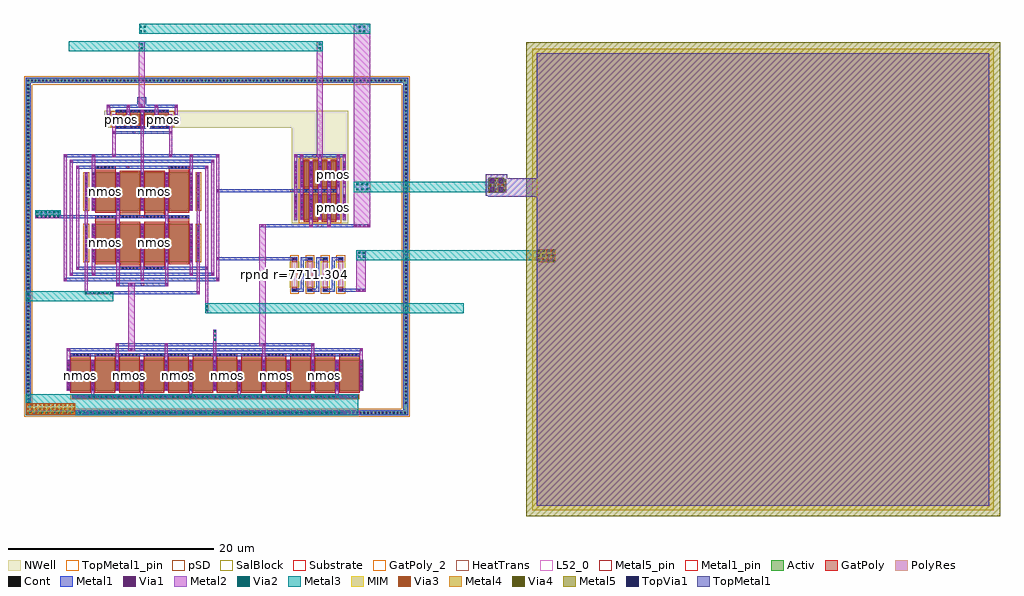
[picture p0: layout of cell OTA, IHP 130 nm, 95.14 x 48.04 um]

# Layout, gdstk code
from math import pi, radians
import gdstk
lib = gdstk.Library(unit=1e-6, precision=1e-09)
def R(c, l, rs):  # rectangles x0, y0, x1, y1
    for r in rs: c.add(gdstk.rectangle(r[:2], r[2:], *l))
def A(c, l, x, y, w, h, nx, ny, dx, dy):  # array of equal rectangles
    R(c, l, [(x+i*dx, y+j*dy, x+i*dx+w, y+j*dy+h) for i in range(nx) for j in range(ny)])
Activ = (1, 0)
GatPoly = (5, 0)
GatPoly_2 = (5, 2)
Cont = (6, 0)
Metal1 = (8, 0)
Metal1_pin = (8, 2)
Metal2 = (10, 0)
pSD = (14, 0)
Via1 = (19, 0)
SalBlock = (28, 0)
Via2 = (29, 0)
Metal3 = (30, 0)
NWell = (31, 0)
MIM = (36, 0)
Substrate = (40, 0)
Via3 = (49, 0)
Metal4 = (50, 0)
HeatTrans = (51, 0)
L52_0 = (52, 0)
Via4 = (66, 0)
Metal5 = (67, 0)
Metal5_pin = (67, 2)
TopVia1 = (125, 0)
TopMetal1 = (126, 0)
TopMetal1_pin = (126, 2)
PolyRes = (128, 0)

via_6 = lib.new_cell('Via$6')
R(via_6, Metal2, [(-0.05,-0.05,0.24,2.7)])
A(via_6, Via2, 0, 0, 0.19, 0.19, 1, 7, 0, 0.41)
R(via_6, Metal3, [(-0.05,-0.05,0.24,2.7)])

via_7 = lib.new_cell('Via$7')
R(via_7, Metal1, [(-0.05,-0.05,0.24,2.29)])
R(via_7, Metal2, [(-0.05,-0.05,0.24,2.29)])
A(via_7, Via1, 0, 0, 0.19, 0.19, 1, 6, 0, 0.41)

via_8 = lib.new_cell('Via$8')
R(via_8, Metal3, [(-0.05,-0.05,1.06,1.47)])
A(via_8, Via3, 0, 0, 0.19, 0.19, 3, 4, 0.41, 0.41)
R(via_8, Metal4, [(-0.05,-0.05,1.06,1.47)])

via_9 = lib.new_cell('Via$9')
R(via_9, Metal5, [(-0.1,-0.1,1.36,1.36)])
R(via_9, TopVia1, [(0,0,0.42,0.42), (0.84,0,1.26,0.42), (0,0.84,0.42,1.26), (0.84,0.84,1.26,1.26)])
R(via_9, TopMetal1, [(-0.42,-0.42,1.68,1.68)])

via_10 = lib.new_cell('Via$10')
R(via_10, Metal4, [(-0.05,-0.05,1.2,1.68)])
A(via_10, Via4, 0, 0, 0.19, 0.19, 3, 4, 0.48, 0.48)
R(via_10, Metal5, [(-0.05,-0.05,1.2,1.68)])

via_5 = lib.new_cell('Via$5')
R(via_5, Metal3, [(-0.05,-0.05,1.06,4.75)])
A(via_5, Via3, 0, 0, 0.19, 0.19, 3, 12, 0.41, 0.41)
R(via_5, Metal4, [(-0.05,-0.05,1.06,4.75)])

ota = lib.new_cell('OTA')
A(ota, Activ, -294.765, -58.97, 0.3, 0.3, 13, 1, 2.38, 0)
A(ota, Activ, -292.33, -46.445, 0.3, 0.3, 5, 2, 2.38, 5)
A(ota, Activ, -272.01, -40.125, 0.3, 0.3, 5, 2, 0.88, 3.2)
A(ota, Activ, -290.33, -33.01, 0.3, 0.3, 5, 1, 1.38, 0)
R(ota, Activ, [(-294.3,-59.725,-266.38,-59.425), (-294.765,-58.97,-265.905,-55.97), (-292.33,-46.445,-282.51,-42.695), (-293.055,-46.34,-292.755,-42.78), (-282.1,-46.34,-281.8,-42.78), (-272.6,-42.335,-272.3,-39.825), (-267.885,-42.335,-267.585,-39.825), (-272.01,-42.325,-268.19,-39.825), (-292.33,-41.445,-282.51,-37.695), (-293.055,-41.335,-292.755,-37.775), (-282.1,-41.335,-281.8,-37.775), (-272.6,-39.125,-272.3,-36.62), (-272.01,-39.125,-268.19,-36.625), (-267.885,-39.125,-267.585,-36.62), (-290.87,-33.015,-290.56,-32.01), (-284.27,-33.015,-283.965,-32.01), (-290.33,-33.01,-284.51,-32.01)])
A(ota, GatPoly, -294.425, -59.15, 2, 3.36, 12, 1, 2.38, 0)
A(ota, GatPoly, -294.425, -55.79, 2, 0.48, 12, 1, 2.38, 0)
A(ota, GatPoly, -272.83, -49.32, 0.5, 0.43, 4, 2, 1.5, 2.93)
A(ota, GatPoly, -291.99, -46.625, 2, 4.11, 4, 2, 2.38, 5)
A(ota, GatPoly, -271.67, -42.505, 0.5, 2.86, 4, 2, 0.88, 3.2)
A(ota, GatPoly, -271.67, -39.645, 0.5, 0.34, 4, 1, 0.88, 0)
A(ota, GatPoly, -289.99, -33.455, 1, 0.265, 4, 1, 1.38, 0)
A(ota, GatPoly, -289.99, -33.19, 1, 1.36, 4, 1, 1.38, 0)
A(ota, GatPoly, -289.99, -31.83, 1, 0.27, 4, 1, 1.38, 0)
R(ota, GatPoly, [(-289.61,-47.18,-287.61,-46.625), (-287.23,-47.18,-285.23,-46.625), (-291.99,-42.515,-289.99,-41.875), (-284.85,-42.515,-282.85,-41.875), (-269.03,-42.505,-268.53,-39.645), (-269.03,-42.505,-268.53,-39.645), (-289.61,-42.175,-287.61,-41.625), (-287.23,-42.175,-285.23,-41.625), (-269.03,-39.305,-268.53,-36.445), (-269.03,-39.305,-268.53,-36.445), (-291.99,-37.515,-289.99,-37.035), (-284.85,-37.515,-282.85,-37.035), (-289.99,-33.19,-288.99,-31.83), (-289.99,-33.19,-288.99,-31.83)])
R(ota, GatPoly_2, [(-291.99,-46.625,-289.99,-42.515), (-291.99,-46.625,-289.99,-42.515), (-291.99,-41.625,-289.99,-37.515), (-291.99,-41.625,-289.99,-37.515)])
A(ota, Cont, -298.625, -61.2, 0.16, 0.16, 103, 2, 0.36, 32.4)
A(ota, Cont, -298.625, -60.22, 0.16, 0.16, 1, 87, 0, 0.36)
A(ota, Cont, -261.81, -60.22, 0.16, 0.16, 1, 87, 0, 0.36)
A(ota, Cont, -294.19, -59.655, 0.16, 0.16, 5, 2, 0.35, 4.11)
A(ota, Cont, -291.84, -59.655, 0.16, 0.16, 5, 2, 0.35, 4.11)
A(ota, Cont, -289.465, -59.655, 0.16, 0.16, 5, 2, 0.35, 4.11)
A(ota, Cont, -287.055, -59.655, 0.16, 0.16, 5, 2, 0.35, 4.11)
A(ota, Cont, -284.68, -59.655, 0.16, 0.16, 5, 2, 0.35, 4.11)
A(ota, Cont, -282.3, -59.655, 0.16, 0.16, 5, 2, 0.35, 4.11)
A(ota, Cont, -279.93, -59.655, 0.16, 0.16, 5, 2, 0.35, 4.11)
A(ota, Cont, -277.555, -59.655, 0.16, 0.16, 5, 2, 0.35, 4.11)
A(ota, Cont, -275.17, -59.655, 0.16, 0.16, 5, 2, 0.35, 4.11)
A(ota, Cont, -272.795, -59.655, 0.16, 0.16, 5, 2, 0.35, 4.11)
A(ota, Cont, -270.415, -59.655, 0.16, 0.16, 5, 2, 0.35, 4.11)
A(ota, Cont, -268.045, -59.655, 0.16, 0.16, 5, 2, 0.35, 4.11)
A(ota, Cont, -294.695, -58.9, 0.16, 0.16, 13, 7, 2.38, 0.385)
A(ota, Cont, -294.695, -56.2, 0.16, 0.16, 13, 1, 2.38, 0)
A(ota, Cont, -272.76, -49.25, 0.36, 0.16, 4, 2, 1.5, 3.06)
A(ota, Cont, -289.405, -47.1, 0.16, 0.16, 5, 2, 0.35, 4.995)
A(ota, Cont, -287.045, -47.1, 0.16, 0.16, 5, 1, 0.35, 0)
A(ota, Cont, -292.26, -46.375, 0.16, 0.16, 5, 11, 2.38, 0.345)
A(ota, Cont, -292.985, -45.885, 0.16, 0.16, 1, 9, 0, 0.35)
A(ota, Cont, -282.03, -45.885, 0.16, 0.16, 1, 9, 0, 0.35)
A(ota, Cont, -271.94, -42.255, 0.16, 0.16, 5, 2, 0.88, 0.37)
A(ota, Cont, -291.815, -42.11, 0.16, 0.16, 5, 2, 0.35, 4.835)
A(ota, Cont, -284.62, -42.11, 0.16, 0.16, 5, 1, 0.35, 0)
A(ota, Cont, -287.015, -42.105, 0.16, 0.16, 5, 1, 0.35, 0)
A(ota, Cont, -272.53, -41.88, 0.16, 0.16, 1, 6, 0, 0.35)
A(ota, Cont, -271.94, -41.52, 0.16, 0.16, 5, 2, 0.88, 0.365)
A(ota, Cont, -292.26, -41.375, 0.16, 0.16, 5, 11, 2.38, 0.345)
A(ota, Cont, -292.985, -40.965, 0.16, 0.16, 1, 9, 0, 0.35)
A(ota, Cont, -282.03, -40.945, 0.16, 0.16, 1, 9, 0, 0.35)
A(ota, Cont, -271.94, -40.785, 0.16, 0.16, 5, 3, 0.88, 0.365)
A(ota, Cont, -271.94, -39.055, 0.16, 0.16, 5, 2, 0.88, 0.37)
A(ota, Cont, -267.815, -38.655, 0.16, 0.16, 1, 6, 0, 0.35)
A(ota, Cont, -272.53, -38.62, 0.16, 0.16, 1, 6, 0, 0.35)
A(ota, Cont, -271.94, -38.32, 0.16, 0.16, 5, 2, 0.88, 0.365)
A(ota, Cont, -271.94, -37.585, 0.16, 0.16, 5, 3, 0.88, 0.365)
A(ota, Cont, -284.63, -37.275, 0.16, 0.16, 5, 1, 0.35, 0)
A(ota, Cont, -289.92, -33.385, 0.16, 0.16, 3, 2, 0.35, 1.59)
A(ota, Cont, -288.54, -33.385, 0.16, 0.16, 3, 2, 0.35, 1.59)
A(ota, Cont, -287.16, -33.385, 0.16, 0.16, 3, 2, 0.35, 1.59)
A(ota, Cont, -285.78, -33.385, 0.16, 0.16, 3, 2, 0.35, 1.59)
A(ota, Cont, -290.795, -32.94, 0.16, 0.16, 1, 3, 0, 0.35)
A(ota, Cont, -290.26, -32.94, 0.16, 0.16, 5, 3, 1.38, 0.35)
A(ota, Cont, -284.195, -32.94, 0.16, 0.16, 1, 3, 0, 0.35)
R(ota, Cont, [(-267.815,-41.85,-267.655,-41.69), (-267.815,-41.85,-267.655,-41.69), (-267.815,-41.85,-267.655,-41.69), (-267.815,-41.5,-267.655,-41.34), (-267.815,-41.5,-267.655,-41.34), (-267.815,-41.5,-267.655,-41.34), (-267.815,-41.15,-267.655,-40.99), (-267.815,-41.15,-267.655,-40.99), (-267.815,-41.15,-267.655,-40.99), (-267.815,-40.8,-267.655,-40.64), (-267.815,-40.8,-267.655,-40.64), (-267.815,-40.8,-267.655,-40.64), (-267.815,-40.45,-267.655,-40.29), (-267.815,-40.45,-267.655,-40.29), (-267.815,-40.45,-267.655,-40.29), (-267.815,-40.1,-267.655,-39.94), (-267.815,-40.1,-267.655,-39.94), (-267.815,-40.1,-267.655,-39.94), (-269.75,-39.55,-269.59,-39.39), (-268.87,-39.55,-268.71,-39.39), (-271.515,-39.545,-271.355,-39.385), (-270.61,-39.545,-270.45,-39.385)])
A(ota, Metal1, -294.77, -58.97, 0.3, 3, 13, 1, 2.38, 0)
A(ota, Metal1, -294.695, -58.97, 0.16, 3, 13, 1, 2.38, 0)
A(ota, Metal1, -272.81, -49.3, 0.46, 0.26, 4, 2, 1.5, 3.06)
A(ota, Metal1, -292.26, -46.445, 0.16, 3.75, 5, 2, 2.38, 5)
A(ota, Metal1, -287.57, -46.445, 0.3, 3.75, 3, 2, 2.38, 5)
A(ota, Metal1, -272.01, -42.325, 0.3, 2.5, 5, 2, 0.88, 3.2)
A(ota, Metal1, -271.94, -42.325, 0.16, 2.5, 4, 2, 0.88, 3.2)
A(ota, Metal1, -290.33, -33.01, 0.3, 1, 5, 1, 1.38, 0)
A(ota, Metal1, -288.88, -33.01, 0.16, 1, 4, 1, 1.38, 0)
R(ota, Metal1, [(-294.3,-59.725,-266.38,-59.425), (-294.425,-55.61,-266.245,-55.31), (-294.765,-55.125,-265.91,-54.825), (-290.01,-54.64,-270.67,-54.34), (-293.055,-49.565,-281.8,-49.265), (-268.33,-49.32,-265.62,-49.02), (-289.945,-48.77,-284.89,-48.47), (-295.085,-48.28,-279.905,-47.98), (-294.48,-47.77,-280.415,-47.47), (-293.88,-47.18,-280.99,-46.88), (-292.33,-46.445,-292.03,-42.695), (-289.945,-46.445,-289.645,-42.695), (-293.055,-46.34,-292.755,-42.78), (-282.1,-46.34,-281.8,-42.78), (-280.205,-46.26,-272.33,-45.96), (-276.005,-43.035,-271.13,-42.73), (-271.13,-43.035,-269.07,-42.73), (-269.07,-43.035,-265.195,-42.73), (-272.6,-42.335,-272.3,-39.825), (-267.885,-42.335,-267.585,-39.825), (-269.3,-42.325,-269.14,-39.825), (-269.3,-42.325,-269.14,-39.825), (-268.42,-42.325,-268.26,-39.825), (-268.42,-42.325,-268.26,-39.825), (-268.42,-42.325,-268.26,-39.825), (-297.865,-42.175,-282.835,-41.875), (-297.865,-41.875,-295.355,-41.37), (-292.33,-41.445,-292.03,-37.695), (-289.945,-41.445,-289.645,-37.695), (-293.055,-41.335,-292.755,-37.775), (-282.1,-41.335,-281.8,-37.775), (-273.14,-39.61,-268.53,-39.31), (-272.6,-39.125,-272.3,-36.62), (-269.3,-39.125,-269.14,-36.625), (-269.3,-39.125,-269.14,-36.625), (-268.42,-39.125,-268.26,-36.625), (-268.42,-39.125,-268.26,-36.625), (-268.42,-39.125,-268.26,-36.625), (-267.885,-39.125,-267.585,-36.62), (-293.88,-37.335,-280.99,-37.035), (-294.485,-36.765,-280.42,-36.465), (-295.085,-36.22,-279.905,-35.92), (-272.6,-36.22,-267.585,-35.92), (-290.33,-33.92,-284.51,-33.655), (-289.99,-33.455,-284.85,-33.19), (-290.87,-33.015,-290.56,-32.01), (-284.27,-33.015,-283.965,-32.01), (-290.26,-33.01,-290.1,-32.01), (-290.26,-33.01,-290.1,-32.01), (-290.26,-33.01,-290.1,-32.01), (-288.88,-33.01,-288.72,-32.01), (-288.88,-33.01,-288.72,-32.01), (-289.99,-31.83,-284.85,-31.56), (-290.87,-31.365,-283.965,-31.1), (-287.9,-31.1,-287.015,-30.365)])
R(ota, Metal1_pin, [(-294.695,-58.97,-294.535,-55.97), (-294.695,-58.97,-294.535,-55.97), (-292.315,-58.97,-292.155,-55.97), (-292.315,-58.97,-292.155,-55.97), (-272.81,-49.3,-272.35,-49.04), (-272.81,-49.3,-272.35,-49.04), (-271.31,-49.3,-270.85,-49.04), (-271.31,-49.3,-270.85,-49.04), (-269.81,-49.3,-269.35,-49.04), (-269.81,-49.3,-269.35,-49.04), (-268.31,-49.3,-267.85,-49.04), (-268.31,-49.3,-267.85,-49.04), (-287.555,-48.756,-287.227,-48.487), (-292.26,-46.445,-292.1,-42.695), (-292.26,-46.445,-292.1,-42.695), (-289.88,-46.445,-289.72,-42.695), (-289.88,-46.445,-289.72,-42.695), (-272.81,-46.24,-272.35,-45.98), (-272.81,-46.24,-272.35,-45.98), (-271.31,-46.24,-270.85,-45.98), (-271.31,-46.24,-270.85,-45.98), (-269.81,-46.24,-269.35,-45.98), (-269.81,-46.24,-269.35,-45.98), (-268.31,-46.24,-267.85,-45.98), (-268.31,-46.24,-267.85,-45.98), (-270.312,-43.015,-269.948,-42.761), (-287.512,-42.139,-287.293,-41.91), (-292.26,-41.445,-292.1,-37.695), (-292.26,-41.445,-292.1,-37.695), (-289.88,-41.445,-289.72,-37.695), (-289.88,-41.445,-289.72,-37.695), (-273.012,-39.578,-272.669,-39.331), (-289.004,-37.304,-288.711,-37.071), (-287.539,-36.741,-287.276,-36.485), (-287.542,-36.205,-287.209,-35.932), (-270.831,-36.198,-270.396,-35.951), (-288.354,-33.906,-288.088,-33.659), (-287.533,-33.441,-287.282,-33.202), (-287.545,-31.365,-287.37,-31.099)])
A(ota, Metal2, -292.39, -59.725, 0.3, 3.755, 6, 1, 4.76, 0)
A(ota, Metal2, -272.01, -42.325, 0.3, 6.405, 3, 1, 1.76, 0)
R(ota, Metal2, [(-298.805,-61.365,-266.23,-60.865), (-294.3,-59.725,-266.38,-59.425), (-294.765,-58.97,-294.465,-54.825), (-290.01,-58.97,-289.71,-54.34), (-285.25,-58.97,-284.95,-54.34), (-280.49,-58.97,-280.19,-53.025), (-275.73,-58.97,-275.43,-54.34), (-270.97,-58.97,-270.67,-54.34), (-266.21,-58.97,-265.91,-54.825), (-288.78,-55.125,-288.18,-48.47), (-276.005,-54.64,-275.405,-42.73), (-281.29,-51.445,-280.99,-47.18), (-298.805,-50.265,-298.305,-49.265), (-293.055,-49.565,-290.265,-49.265), (-293.055,-49.565,-290.265,-49.265), (-293.055,-49.565,-292.755,-37.69), (-282.1,-49.565,-281.8,-37.69), (-266.55,-49.32,-265.62,-45.265), (-289.945,-48.77,-289.645,-37.695), (-285.19,-48.77,-284.89,-37.695), (-295.085,-48.28,-294.785,-35.92), (-287.57,-48.28,-287.27,-42.695), (-280.205,-48.28,-279.905,-35.92), (-294.48,-47.77,-294.18,-36.465), (-292.33,-47.77,-292.03,-42.695), (-282.81,-47.77,-282.51,-42.695), (-280.715,-47.77,-280.415,-36.465), (-293.88,-47.18,-293.58,-37.035), (-281.29,-47.18,-280.99,-37.035), (-271.13,-43.035,-270.83,-36.625), (-269.37,-43.035,-269.07,-36.625), (-266.805,-43.035,-265.195,-23.185), (-272.6,-42.335,-272.3,-35.92), (-267.885,-42.335,-267.585,-35.92), (-297.865,-42.175,-295.355,-41.37), (-292.33,-41.445,-292.03,-35.92), (-287.57,-41.445,-287.27,-36.465), (-282.81,-41.445,-282.51,-35.92), (-287.57,-36.465,-287.27,-34.575), (-290.33,-36.22,-290.03,-33.651), (-284.81,-36.22,-284.51,-33.652), (-287.57,-34.575,-287.27,-31.56), (-290.33,-33.92,-290.03,-32.01), (-284.81,-33.92,-284.51,-32.01), (-290.87,-33.015,-290.56,-31.1), (-284.27,-33.015,-283.965,-31.1), (-288.95,-33.01,-288.65,-31.1), (-286.19,-33.01,-285.89,-31.1)])
A(ota, pSD, -273.01, -49.5, 0.86, 0.79, 4, 2, 1.5, 2.93)
R(ota, pSD, [(-294.43,-59.825,-266.25,-59.33), (-273.01,-48.89,-272.15,-46.39), (-273.01,-48.89,-272.15,-46.39), (-271.51,-48.89,-270.65,-46.39), (-271.51,-48.89,-270.65,-46.39), (-270.01,-48.89,-269.15,-46.39), (-270.01,-48.89,-269.15,-46.39), (-268.51,-48.89,-267.65,-46.39), (-268.51,-48.89,-267.65,-46.39), (-293.185,-46.445,-292.615,-42.695), (-282.23,-46.445,-281.66,-42.695), (-272.19,-42.625,-268.01,-39.525), (-293.185,-41.44,-292.615,-37.69), (-282.23,-41.44,-281.66,-37.69), (-272.19,-39.525,-268.01,-39.425), (-272.19,-39.425,-268.01,-36.325), (-290.51,-33.31,-284.33,-31.71)])
A(ota, Via1, -298.55, -61.21, 0.19, 0.19, 77, 1, 0.41, 0)
A(ota, Via1, -294.065, -59.67, 0.19, 0.19, 65, 1, 0.41, 0)
A(ota, Via1, -294.705, -58.785, 0.19, 0.19, 4, 7, 2.375, 0.41)
A(ota, Via1, -285.195, -58.785, 0.19, 0.19, 4, 7, 2.375, 0.41)
A(ota, Via1, -275.675, -58.785, 0.19, 0.19, 3, 7, 2.375, 0.41)
A(ota, Via1, -268.54, -58.785, 0.19, 0.19, 1, 7, 0, 0.41)
A(ota, Via1, -266.165, -58.785, 0.19, 0.19, 1, 7, 0, 0.41)
A(ota, Via1, -293.005, -49.51, 0.19, 0.19, 7, 1, 0.41, 0)
A(ota, Via1, -292.995, -46.17, 0.19, 0.19, 1, 8, 0, 0.41)
A(ota, Via1, -282.04, -46.17, 0.19, 0.19, 1, 8, 0, 0.41)
A(ota, Via1, -282.76, -46.11, 0.19, 0.19, 1, 8, 0, 0.41)
A(ota, Via1, -292.27, -46.1, 0.19, 0.19, 1, 8, 0, 0.41)
A(ota, Via1, -289.895, -46.075, 0.19, 0.19, 1, 8, 0, 0.41)
A(ota, Via1, -285.13, -46.065, 0.19, 0.19, 1, 8, 0, 0.41)
A(ota, Via1, -287.515, -46.04, 0.19, 0.19, 1, 8, 0, 0.41)
A(ota, Via1, -266.705, -42.985, 0.19, 0.19, 4, 1, 0.41, 0)
A(ota, Via1, -271.95, -42.205, 0.19, 0.19, 4, 6, 0.88, 0.41)
A(ota, Via1, -268.435, -42.205, 0.19, 0.19, 1, 6, 0, 0.41)
A(ota, Via1, -297.755, -42.075, 0.19, 0.19, 6, 2, 0.41, 0.41)
A(ota, Via1, -272.54, -41.99, 0.19, 0.19, 1, 5, 0, 0.41)
A(ota, Via1, -267.825, -41.99, 0.19, 0.19, 1, 5, 0, 0.41)
A(ota, Via1, -285.135, -41.175, 0.19, 0.19, 1, 8, 0, 0.41)
A(ota, Via1, -292.995, -41.165, 0.19, 0.19, 1, 8, 0, 0.41)
A(ota, Via1, -282.75, -41.165, 0.19, 0.19, 1, 8, 0, 0.41)
A(ota, Via1, -282.04, -41.165, 0.19, 0.19, 1, 8, 0, 0.41)
A(ota, Via1, -292.275, -41.11, 0.19, 0.19, 3, 8, 2.38, 0.41)
A(ota, Via1, -271.95, -39.015, 0.19, 0.19, 4, 6, 0.88, 0.41)
A(ota, Via1, -268.435, -39.015, 0.19, 0.19, 1, 6, 0, 0.41)
A(ota, Via1, -272.54, -38.785, 0.19, 0.19, 1, 5, 0, 0.41)
A(ota, Via1, -267.825, -38.785, 0.19, 0.19, 1, 5, 0, 0.41)
R(ota, Via1, [(-280.435,-55.54,-280.245,-55.35), (-288.595,-55.08,-288.405,-54.89), (-294.705,-55.075,-294.515,-54.885), (-266.15,-55.065,-265.96,-54.875), (-270.91,-54.59,-270.72,-54.4), (-289.95,-54.585,-289.76,-54.395), (-275.665,-54.58,-275.475,-54.39), (-285.195,-54.575,-285.005,-54.385), (-298.645,-50.055,-298.455,-49.865), (-298.645,-49.645,-298.455,-49.455), (-293.005,-49.51,-292.815,-49.32), (-282.045,-49.51,-281.855,-49.32), (-268.16,-49.265,-267.97,-49.075), (-266.385,-49.265,-266.195,-49.075), (-265.975,-49.265,-265.785,-49.075), (-289.895,-48.72,-289.705,-48.53), (-285.12,-48.71,-284.93,-48.52), (-288.595,-48.705,-288.405,-48.515), (-295.03,-48.235,-294.84,-48.045), (-280.15,-48.235,-279.96,-48.045), (-287.515,-48.23,-287.325,-48.04), (-294.425,-47.72,-294.235,-47.53), (-292.275,-47.72,-292.085,-47.53), (-282.765,-47.72,-282.575,-47.53), (-280.655,-47.715,-280.465,-47.525), (-281.24,-47.135,-281.05,-46.945), (-293.825,-47.115,-293.635,-46.925), (-272.68,-46.21,-272.49,-46.02), (-280.145,-46.205,-279.955,-46.015), (-275.835,-42.985,-275.645,-42.795), (-271.075,-42.98,-270.885,-42.79), (-269.31,-42.975,-269.12,-42.785), (-280.145,-39.56,-279.955,-39.37), (-281.23,-37.285,-281.04,-37.095), (-293.825,-37.275,-293.635,-37.085), (-294.425,-36.715,-294.235,-36.525), (-287.51,-36.715,-287.32,-36.525), (-280.655,-36.705,-280.465,-36.515), (-290.275,-36.17,-290.085,-35.98), (-284.75,-36.17,-284.56,-35.98), (-295.035,-36.165,-294.845,-35.975), (-282.755,-36.165,-282.565,-35.975), (-280.145,-36.165,-279.955,-35.975), (-272.545,-36.165,-272.355,-35.975), (-271.96,-36.165,-271.77,-35.975), (-270.19,-36.165,-270,-35.975), (-292.27,-36.16,-292.08,-35.97), (-268.435,-36.16,-268.245,-35.97), (-267.825,-36.16,-267.635,-35.97), (-290.27,-33.885,-290.08,-33.695), (-284.75,-33.885,-284.56,-33.695), (-287.505,-33.42,-287.315,-33.23), (-288.89,-32.805,-288.7,-32.615), (-287.51,-32.785,-287.32,-32.595), (-290.275,-32.78,-290.085,-32.59), (-290.81,-32.755,-290.62,-32.565), (-284.75,-32.755,-284.56,-32.565), (-284.215,-32.755,-284.025,-32.565), (-286.11,-32.725,-285.92,-32.535), (-288.89,-32.395,-288.7,-32.205), (-287.51,-32.375,-287.32,-32.185), (-290.275,-32.37,-290.085,-32.18), (-290.81,-32.345,-290.62,-32.155), (-284.75,-32.345,-284.56,-32.155), (-284.215,-32.345,-284.025,-32.155), (-286.11,-32.315,-285.92,-32.125), (-287.51,-31.795,-287.32,-31.605), (-290.805,-31.33,-290.615,-31.14), (-288.89,-31.325,-288.7,-31.135), (-286.135,-31.325,-285.945,-31.135), (-284.205,-31.325,-284.015,-31.135), (-287.6,-31.215,-287.41,-31.025)])
A(ota, SalBlock, -273.03, -48.89, 0.9, 2.5, 4, 1, 1.5, 0)
A(ota, Via2, -298.48, -61.215, 0.19, 0.19, 14, 1, 0.41, 0)
A(ota, Via2, -292.53, -61.215, 0.19, 0.19, 60, 1, 0.41, 0)
A(ota, Via2, -292.68, -59.67, 0.19, 0.19, 60, 1, 0.41, 0)
A(ota, Via2, -280.43, -54.095, 0.19, 0.19, 1, 3, 0, 0.41)
A(ota, Via2, -293.005, -49.51, 0.19, 0.19, 7, 1, 0.41, 0)
A(ota, Via2, -297.755, -42.075, 0.19, 0.19, 6, 2, 0.41, 0.41)
A(ota, Via2, -266.56, -39.415, 0.19, 0.19, 3, 2, 0.48, 0.48)
R(ota, Via2, [(-281.24,-51.225,-281.05,-51.035), (-281.24,-50.815,-281.05,-50.625), (-298.645,-50.055,-298.455,-49.865), (-298.645,-49.645,-298.455,-49.455), (-266.36,-46.03,-266.17,-45.84), (-266.36,-46.03,-266.17,-45.84), (-266.36,-46.03,-266.17,-45.84), (-266.36,-46.03,-266.17,-45.84), (-266.36,-46.03,-266.17,-45.84), (-266.36,-46.03,-266.17,-45.84), (-266.36,-46.03,-266.17,-45.84), (-266.36,-46.03,-266.17,-45.84), (-266.36,-46.03,-266.17,-45.84), (-266.36,-46.03,-266.17,-45.84), (-266.36,-46.03,-266.17,-45.84), (-266.36,-46.03,-266.17,-45.84), (-266.36,-46.03,-266.17,-45.84), (-266.36,-46.03,-266.17,-45.84), (-265.95,-46.03,-265.76,-45.84), (-265.95,-46.03,-265.76,-45.84), (-265.95,-46.03,-265.76,-45.84), (-265.95,-46.03,-265.76,-45.84), (-265.95,-46.03,-265.76,-45.84), (-265.95,-46.03,-265.76,-45.84), (-265.95,-46.03,-265.76,-45.84), (-265.95,-46.03,-265.76,-45.84), (-265.95,-46.03,-265.76,-45.84), (-265.95,-46.03,-265.76,-45.84), (-265.95,-46.03,-265.76,-45.84), (-265.95,-46.03,-265.76,-45.84), (-265.95,-46.03,-265.76,-45.84), (-265.95,-46.03,-265.76,-45.84), (-266.36,-45.62,-266.17,-45.43), (-266.36,-45.62,-266.17,-45.43), (-266.36,-45.62,-266.17,-45.43), (-266.36,-45.62,-266.17,-45.43), (-266.36,-45.62,-266.17,-45.43), (-266.36,-45.62,-266.17,-45.43), (-266.36,-45.62,-266.17,-45.43), (-266.36,-45.62,-266.17,-45.43), (-266.36,-45.62,-266.17,-45.43), (-266.36,-45.62,-266.17,-45.43), (-266.36,-45.62,-266.17,-45.43), (-266.36,-45.62,-266.17,-45.43), (-266.36,-45.62,-266.17,-45.43), (-266.36,-45.62,-266.17,-45.43), (-265.95,-45.62,-265.76,-45.43), (-265.95,-45.62,-265.76,-45.43), (-265.95,-45.62,-265.76,-45.43), (-265.95,-45.62,-265.76,-45.43), (-265.95,-45.62,-265.76,-45.43), (-265.95,-45.62,-265.76,-45.43), (-265.95,-45.62,-265.76,-45.43), (-265.95,-45.62,-265.76,-45.43), (-265.95,-45.62,-265.76,-45.43), (-265.95,-45.62,-265.76,-45.43), (-265.95,-45.62,-265.76,-45.43), (-265.95,-45.62,-265.76,-45.43), (-265.95,-45.62,-265.76,-45.43), (-265.95,-45.62,-265.76,-45.43), (-287.59,-25.695,-287.4,-25.505), (-270.2,-25.695,-270.01,-25.505), (-287.59,-25.285,-287.4,-25.095), (-270.2,-25.285,-270.01,-25.095), (-287.67,-24.01,-287.48,-23.82), (-287.26,-24.01,-287.07,-23.82), (-266.305,-24.01,-266.115,-23.82), (-266.305,-24.01,-266.115,-23.82), (-265.895,-24.01,-265.705,-23.82), (-265.895,-24.01,-265.705,-23.82), (-287.67,-23.6,-287.48,-23.41), (-287.26,-23.6,-287.07,-23.41), (-266.305,-23.6,-266.115,-23.41), (-266.305,-23.6,-266.115,-23.41), (-265.895,-23.6,-265.705,-23.41), (-265.895,-23.6,-265.705,-23.41)])
R(ota, Metal3, [(-298.805,-61.365,-266.38,-59.33), (-281.29,-51.445,-256.065,-50.445), (-298.805,-50.265,-290.265,-49.265), (-266.55,-46.245,-248.905,-45.27), (-297.865,-41.875,-295.355,-41.37), (-266.805,-39.61,-253.685,-38.61), (-253.685,-39.61,-252.125,-38.24), (-294.57,-25.895,-269.815,-24.895), (-287.73,-24.185,-265.195,-23.185)])
R(ota, NWell, [(-272.845,-42.635,-272.32,-36.315), (-272.32,-42.635,-267.88,-39.515), (-267.88,-42.635,-267.345,-36.315), (-272.32,-39.515,-267.88,-39.435), (-272.32,-39.435,-267.88,-36.315), (-272.845,-36.315,-267.335,-33.32), (-291.11,-33.32,-290.64,-31.7), (-290.64,-33.32,-284.2,-31.7), (-284.2,-33.32,-267.335,-31.7)])
R(ota, MIM, [(-249.41,-70.625,-204.41,-25.625)])
R(ota, Substrate, [(-272.01,-40.125,-271.71,-39.825), (-272.01,-40.125,-271.71,-39.825), (-272.01,-36.925,-271.71,-36.625), (-272.01,-36.925,-271.71,-36.625), (-284.81,-33.01,-284.51,-32.71), (-284.81,-33.01,-284.51,-32.71)])
R(ota, Metal4, [(-253.685,-39.61,-252.125,-38.24)])
A(ota, HeatTrans, -294.425, -59.15, 2, 3.36, 12, 1, 2.38, 0)
A(ota, HeatTrans, -291.99, -46.625, 2, 4.11, 4, 2, 2.38, 5)
A(ota, HeatTrans, -271.67, -42.505, 0.5, 2.86, 4, 2, 0.88, 3.2)
A(ota, HeatTrans, -289.99, -33.19, 1, 1.36, 4, 1, 1.38, 0)
A(ota, L52_0, -272.83, -48.89, 0.5, 2.5, 4, 1, 1.5, 0)
R(ota, Metal5, [(-250.01,-71.225,-203.81,-25.025), (-253.685,-39.61,-252.125,-38.24)])
R(ota, Metal5_pin, [(-250.01,-71.225,-203.81,-25.025), (-253.429,-38.635,-253.239,-38.445)])
R(ota, TopMetal1, [(-248.955,-70.18,-204.855,-26.08), (-253.685,-40.05,-248.955,-38.24)])
R(ota, TopMetal1_pin, [(-248.955,-70.18,-204.855,-26.08)])
A(ota, PolyRes, -272.83, -48.89, 0.5, 2.5, 4, 1, 1.5, 0)
ota.add(gdstk.FlexPath([(-287.49,-31.32),(-287.49,-24.895)], 0.6, ends="flush", simple_path=True, layer=10, datatype=0))  # Metal2
ota.add(gdstk.FlexPath([(-270.115,-36.22),(-270.115,-24.895)], 0.6, ends="flush", simple_path=True, layer=10, datatype=0))  # Metal2
ota.add(gdstk.FlexPath([(-298.805,-61.115),(-261.735,-61.115),(-261.735,-28.725),(-298.555,-28.725),(-298.555,-60.67)], 0.5, ends="flush", simple_path=True, layer=8, datatype=0))  # Metal1
ota.add(gdstk.FlexPath([(-273.14,-39.46),(-280.205,-39.46)], 0.3, ends="flush", simple_path=True, layer=8, datatype=0))  # Metal1
ota.add(gdstk.FlexPath([(-272.83,-49.17),(-271.81,-49.17),(-271.81,-46.11),(-270.83,-46.11)], 0.3, ends="flush", simple_path=True, layer=8, datatype=0))  # Metal1
ota.add(gdstk.FlexPath([(-271.33,-49.17),(-270.31,-49.17),(-270.31,-46.11),(-269.33,-46.11)], 0.3, ends="flush", simple_path=True, layer=8, datatype=0))  # Metal1
ota.add(gdstk.FlexPath([(-269.83,-49.17),(-268.81,-49.17),(-268.81,-46.11),(-267.83,-46.11)], 0.3, ends="flush", simple_path=True, layer=8, datatype=0))  # Metal1
ota.add(gdstk.FlexPath([(-298.555,-61.115),(-296.465,-61.115),(-261.735,-61.115),(-261.735,-28.725),(-298.555,-28.725),(-298.555,-61.515)], 0.8, ends="flush", simple_path=True, layer=14, datatype=0))  # pSD
ota.add(gdstk.FlexPath([(-298.705,-61.115),(-261.735,-61.115),(-261.735,-28.725),(-298.555,-28.725),(-298.555,-60.415)], 0.5, ends="flush", simple_path=True, layer=1, datatype=0))  # Activ
ota.add(gdstk.Reference(via_6, (-293.005,-49.32), rotation=3*pi/2))
ota.add(gdstk.Reference(via_7, (-292.595,-49.32), rotation=3*pi/2))
ota.add(gdstk.Reference(via_8, (-253.615,-38.41), rotation=3*pi/2))
ota.add(gdstk.Reference(via_9, (-253.525,-38.31), rotation=3*pi/2))
ota.add(gdstk.Reference(via_10, (-253.615,-38.41), rotation=3*pi/2))
ota.add(gdstk.Reference(via_10, (-248.855,-45.24), rotation=3*pi/2))
ota.add(gdstk.Reference(via_8, (-248.855,-45.24), rotation=3*pi/2))
ota.add(gdstk.Reference(via_5, (-298.7,-60.245), rotation=3*pi/2))
ota.add(gdstk.Label('pmos', (-268.78,-41.075), layer=63, texttype=0))
ota.add(gdstk.Label('pmos', (-268.78,-37.875), layer=63, texttype=0))
ota.add(gdstk.Label('pmos', (-289.49,-32.51), layer=63, texttype=0))
ota.add(gdstk.Label('rpnd r=7711.304', (-272.58,-47.64), layer=63, texttype=0))
ota.add(gdstk.Label('rpnd r=7711.304', (-271.08,-47.64), layer=63, texttype=0))
ota.add(gdstk.Label('rpnd r=7711.304', (-269.58,-47.64), layer=63, texttype=0))
ota.add(gdstk.Label('rpnd r=7711.304', (-268.08,-47.64), layer=63, texttype=0))
ota.add(gdstk.Label('rhigh', (-272.58,-47.64), layer=52, texttype=0))
ota.add(gdstk.Label('rhigh', (-271.08,-47.64), layer=52, texttype=0))
ota.add(gdstk.Label('rhigh', (-269.58,-47.64), layer=52, texttype=0))
ota.add(gdstk.Label('rhigh', (-268.08,-47.64), layer=52, texttype=0))
ota.add(gdstk.Label('pmos', (-289.49,-32.51), layer=51, texttype=0))
ota.add(gdstk.Label('pmos', (-288.11,-32.51), layer=51, texttype=0))
ota.add(gdstk.Label('pmos', (-286.73,-32.51), layer=51, texttype=0))
ota.add(gdstk.Label('pmos', (-285.35,-32.51), layer=51, texttype=0))
ota.add(gdstk.Label('nmos', (-293.425,-57.47), layer=51, texttype=0))
ota.add(gdstk.Label('nmos', (-291.045,-57.47), layer=51, texttype=0))
ota.add(gdstk.Label('nmos', (-288.665,-57.47), layer=51, texttype=0))
ota.add(gdstk.Label('nmos', (-286.285,-57.47), layer=51, texttype=0))
ota.add(gdstk.Label('nmos', (-283.905,-57.47), layer=51, texttype=0))
ota.add(gdstk.Label('nmos', (-281.525,-57.47), layer=51, texttype=0))
ota.add(gdstk.Label('nmos', (-279.145,-57.47), layer=51, texttype=0))
ota.add(gdstk.Label('nmos', (-276.765,-57.47), layer=51, texttype=0))
ota.add(gdstk.Label('nmos', (-274.385,-57.47), layer=51, texttype=0))
ota.add(gdstk.Label('nmos', (-272.005,-57.47), layer=51, texttype=0))
ota.add(gdstk.Label('nmos', (-269.625,-57.47), layer=51, texttype=0))
ota.add(gdstk.Label('nmos', (-267.245,-57.47), layer=51, texttype=0))
ota.add(gdstk.Label('nmos', (-290.99,-44.57), layer=51, texttype=0))
ota.add(gdstk.Label('nmos', (-290.99,-39.57), layer=51, texttype=0))
ota.add(gdstk.Label('nmos', (-288.61,-44.57), layer=51, texttype=0))
ota.add(gdstk.Label('nmos', (-288.61,-39.57), layer=51, texttype=0))
ota.add(gdstk.Label('nmos', (-286.23,-44.57), layer=51, texttype=0))
ota.add(gdstk.Label('nmos', (-286.23,-39.57), layer=51, texttype=0))
ota.add(gdstk.Label('nmos', (-283.85,-44.57), layer=51, texttype=0))
ota.add(gdstk.Label('nmos', (-283.85,-39.57), layer=51, texttype=0))
ota.add(gdstk.Label('pmos', (-268.78,-41.075), layer=51, texttype=0))
ota.add(gdstk.Label('pmos', (-268.78,-37.875), layer=51, texttype=0))
ota.add(gdstk.Label('pmos', (-269.66,-41.075), layer=51, texttype=0))
ota.add(gdstk.Label('pmos', (-269.66,-37.875), layer=51, texttype=0))
ota.add(gdstk.Label('pmos', (-270.54,-41.075), layer=51, texttype=0))
ota.add(gdstk.Label('pmos', (-270.54,-37.875), layer=51, texttype=0))
ota.add(gdstk.Label('pmos', (-271.42,-41.075), layer=51, texttype=0))
ota.add(gdstk.Label('pmos', (-271.42,-37.875), layer=51, texttype=0))

lib.write_gds('OTA.gds')
